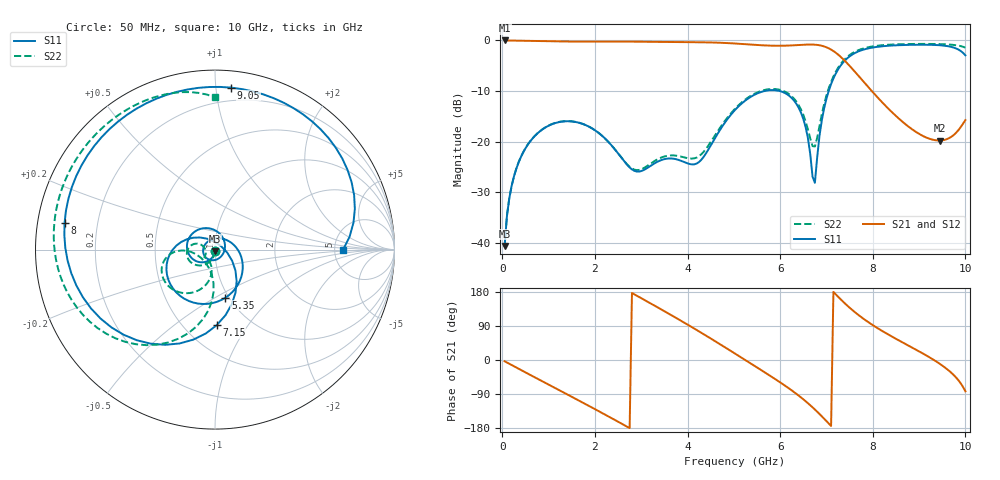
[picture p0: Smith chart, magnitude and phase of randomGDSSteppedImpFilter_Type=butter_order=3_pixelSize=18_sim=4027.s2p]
! freq	dB(S11)	phase(S11)	dB(S12)	phase(S12)
!  dB(S21)	phase(S21)	dB(S22)	phase(S22)
!S-par simulation data
#  GHz  S  DB  R 50
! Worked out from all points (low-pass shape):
!   200 points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, 50 MHz to 10 GHz, reference 50 ohm
!   highest |S21| = -0.01 dB at 50 MHz (marker M1); lowest = -19.8 dB at 9.45 GHz (marker M2)
!   |S21| within 3 dB of the highest: start of sweep to 7.278 GHz
!   lowest |S11| = -40.6 dB at 50 MHz (marker M3), VSWR 1.02, Z = 50 - j0.929 ohm
!   |S11| at or under -10 dB: start of sweep to 5.665 GHz; 5.989 GHz to 7.048 GHz (1.059 GHz wide, 16.3 % of centre)
!   |S22| runs from -40.7 to -0.7 dB; largest |S21 - S12| = 0
!   S11 on the Smith chart (normalised r, x): 50 MHz: 1.00, -0.02; 5.35 GHz: 0.96, -0.56; 7.15 GHz: 0.71, -0.73; 8 GHz: 0.08, +0.09; 9.05 GHz: 0.11, +1.10; 10 GHz: 5.96, -0.07
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0.05  -40.62 -92.1  -0.01 -3.3  -0.01 -3.3  -40.68 -92.1
0.2  -28.84 -104.5  -0.03 -13.2  -0.03 -13.2  -28.83 -101.0
0.55  -20.62 -131.2  -0.09 -35.9  -0.09 -35.9  -20.58 -121.2
1.15  -16.32 -176.5  -0.19 -74.6  -0.19 -74.6  -16.28 -153.8
1.75  -16.56 135.0  -0.23 -113.3  -0.23 -113.3  -16.55 177.4
2.6  -23.53 36.8  -0.23 -169.6  -0.23 -169.6  -23.47 164.9
3.4  -23.78 -120.5  -0.30 135.7  -0.30 135.7  -23.29 -146.9
4.2  -24.33 97.4  -0.36 79.0  -0.36 79.0  -23.15 -121.5
5.05  -13.51 -46.1  -0.62 15.1  -0.62 15.1  -13.28 -106.9
5.35  -11.24 -77.8  -0.81 -8.0  -0.81 -8.0  -11.04 -120.4
6.3  -11.90 -173.8  -0.96 -84.7  -0.96 -84.7  -11.52 -172.2
6.55  -17.14 151.6  -0.83 -108.8  -0.83 -108.8  -16.01 -177.7
6.7  -26.96 95.2  -0.82 -124.9  -0.82 -124.9  -20.90 -149.5
6.75  -28.16 29.1  -0.84 -130.6  -0.84 -130.6  -20.97 -126.7
6.9  -15.78 -45.6  -1.06 -148.7  -1.06 -148.7  -14.55 -92.6
7.15  -7.51 -88.7  -2.10 179.6  -2.10 179.6  -7.12 -103.5
7.5  -3.15 -137.0  -5.02 138.0  -5.02 138.0  -2.89 -134.3
8  -1.40 169.9  -10.22 92.0  -10.22 92.0  -1.17 -170.0
8.35  -1.04 139.3  -13.62 66.2  -13.62 66.2  -0.84 170.7
9.05  -0.85 84.3  -18.73 19.3  -18.73 19.3  -0.68 137.8
9.45  -0.96 52.8  -19.79 -10.3  -19.79 -10.3  -0.72 119.5
10  -2.94 -0.2  -15.76 -82.6  -15.76 -82.6  -1.44 89.8
